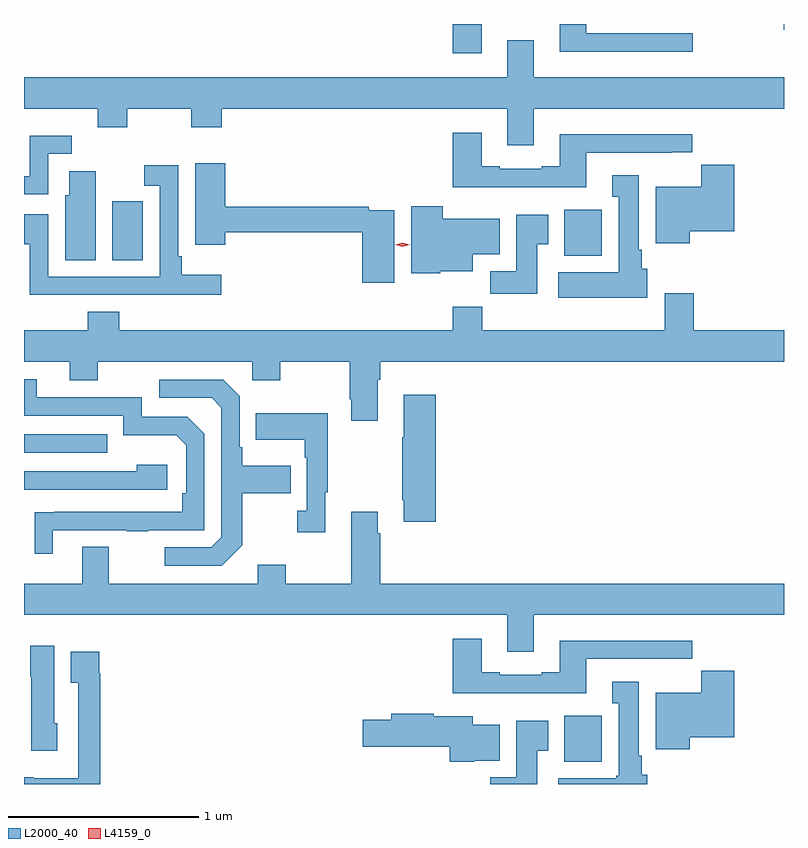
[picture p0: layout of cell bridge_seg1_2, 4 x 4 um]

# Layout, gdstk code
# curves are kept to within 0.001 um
import gdstk
lib = gdstk.Library(unit=1e-6, precision=1e-09)
def R(c, l, rs):  # rectangles x0, y0, x1, y1
    for r in rs: c.add(gdstk.rectangle(r[:2], r[2:], *l))
def P(c, l, *ps):  # polygons
    for p in ps: c.add(gdstk.Polygon(p, *l))
L2000_40 = (2000, 40)
L4159_0 = (4159, 0)

bridge_seg1_2 = lib.new_cell('bridge_seg1_2')
R(bridge_seg1_2, L2000_40, [(866.807,569.606,867.004,569.848), (863.963,571.233,864.401,571.329), (864.428,572.245,864.589,572.556), (866.807,572.27,867.004,572.512), (866.219,573.336,866.371,573.489), (867.962,573.459,867.963,573.489)])
P(bridge_seg1_2, L2000_40, [(867.484,573.441),(866.923,573.441),(866.923,573.489),(866.783,573.489),(866.783,573.344),(867.484,573.344)],
  [(866.647,573.044),(867.963,573.044),(867.963,573.208),(866.647,573.208),(866.647,573.403),(866.507,573.403),(866.507,573.208),(863.963,573.208),(863.963,573.044),(864.352,573.044),(864.352,572.945),(864.507,572.945),(864.507,573.044),(864.844,573.044),(864.844,572.945),(865.004,572.945),(865.004,573.044),(866.507,573.044),(866.507,572.85),(866.647,572.85)],
  [(866.923,572.811),(867.371,572.811),(867.371,572.813),(867.48,572.813),(867.48,572.908),(866.783,572.908),(866.783,572.74),(866.687,572.74),(866.687,572.727),(866.467,572.727),(866.467,572.74),(866.371,572.74),(866.371,572.917),(866.219,572.917),(866.219,572.63),(866.923,572.63)],
  [(864.09,572.805),(864.214,572.805),(864.214,572.902),(863.994,572.902),(863.994,572.688),(863.963,572.688),(863.963,572.592),(864.09,572.592)],
  [(865.912,572.508),(865.778,572.508),(865.778,572.528),(865.022,572.528),(865.022,572.755),(864.863,572.755),(864.863,572.328),(865.022,572.328),(865.022,572.392),(865.742,572.392),(865.742,572.127),(865.912,572.127)],
  [(867.466,572.399),(867.701,572.399),(867.701,572.748),(867.527,572.748),(867.527,572.632),(867.287,572.632),(867.287,572.336),(867.466,572.336)],
  [(864.215,572.064),(864.581,572.064),(864.581,572.063),(865,572.063),(865,572.17),(864.794,572.17),(864.794,572.266),(864.774,572.266),(864.774,572.746),(864.597,572.746),(864.597,572.637),(864.678,572.637),(864.678,572.16),(864.09,572.16),(864.09,572.488),(863.963,572.488),(863.963,572.329),(863.994,572.329),(863.994,572.063),(864.215,572.063)],
  [(864.34,572.713),(864.2,572.713),(864.2,572.589),(864.179,572.589),(864.179,572.245),(864.34,572.245)],
  [(867.244,572.202),(867.214,572.202),(867.214,572.302),(867.199,572.302),(867.199,572.692),(867.059,572.692),(867.059,572.579),(867.092,572.579),(867.092,572.182),(866.775,572.182),(866.775,572.048),(867.244,572.048)],
  [(866.154,572.189),(866.326,572.189),(866.326,572.276),(866.467,572.276),(866.467,572.464),(866.166,572.464),(866.166,572.53),(866,572.53),(866,572.177),(866.154,572.177)],
  [(866.665,572.329),(866.722,572.329),(866.722,572.485),(866.555,572.485),(866.555,572.188),(866.416,572.188),(866.416,572.07),(866.665,572.07)],
  [(864.299,571.876),(863.963,571.876),(863.963,571.712),(864.203,571.712),(864.203,571.613),(864.351,571.613),(864.351,571.712),(865.164,571.712),(865.164,571.613),(865.311,571.613),(865.311,571.712),(865.678,571.712),(865.678,571.513),(865.685,571.513),(865.685,571.401),(865.825,571.401),(865.825,571.616),(865.838,571.616),(865.838,571.712),(867.963,571.712),(867.963,571.876),(867.488,571.876),(867.488,572.071),(867.335,572.071),(867.335,571.876),(866.375,571.876),(866.375,572),(866.219,572),(866.219,571.876),(864.464,571.876),(864.464,571.975),(864.299,571.975)],
  [(864.115,570.825),(864.505,570.825),(864.505,570.82),(864.617,570.82),(864.617,570.825),(864.912,570.825),(864.912,571.332),(864.822,571.422),(864.582,571.422),(864.582,571.524),(864.031,571.524),(864.031,571.62),(863.963,571.62),(863.963,571.428),(864.486,571.428),(864.486,571.325),(864.763,571.325),(864.816,571.272),(864.816,571.018),(864.796,571.018),(864.796,570.921),(864.019,570.92),(864.019,570.702),(864.115,570.702)],
  [(865.111,570.745),(865.111,571.018),(865.367,571.018),(865.367,571.165),(865.111,571.165),(865.111,571.261),(865.098,571.261),(865.098,571.53),(865.011,571.617),(864.675,571.617),(864.675,571.521),(864.951,571.521),(865.002,571.47),(865.002,570.789),(864.948,570.735),(864.705,570.735),(864.705,570.639),(865.005,570.639)],
  [(866.129,571.537),(865.961,571.537),(865.961,571.313),(865.954,571.313),(865.954,570.982),(865.961,570.982),(865.961,570.87),(866.129,570.87)],
  [(865.549,571.025),(865.561,571.025),(865.561,571.441),(865.183,571.441),(865.183,571.301),(865.44,571.301),(865.44,571.205),(865.452,571.205),(865.452,570.926),(865.401,570.926),(865.401,570.813),(865.549,570.813)],
  [(864.718,571.168),(864.557,571.168),(864.557,571.134),(863.963,571.134),(863.963,571.038),(864.718,571.038)],
  [(866.647,570.38),(867.963,570.38),(867.963,570.544),(865.838,570.544),(865.838,570.809),(865.825,570.809),(865.825,570.922),(865.685,570.922),(865.685,570.544),(865.341,570.544),(865.341,570.643),(865.193,570.643),(865.193,570.544),(864.409,570.544),(864.409,570.739),(864.269,570.739),(864.269,570.544),(863.963,570.544),(863.963,570.38),(866.507,570.38),(866.507,570.186),(866.647,570.186)],
  [(866.923,570.147),(867.371,570.147),(867.371,570.149),(867.48,570.149),(867.48,570.244),(866.783,570.244),(866.783,570.076),(866.687,570.076),(866.687,570.063),(866.467,570.063),(866.467,570.076),(866.371,570.076),(866.371,570.253),(866.219,570.253),(866.219,569.966),(866.923,569.966)],
  [(864.139,569.808),(864.121,569.808),(864.121,570.217),(863.996,570.217),(863.996,570.054),(864.002,570.054),(864.002,569.664),(864.139,569.664)],
  [(864.365,570.071),(864.358,570.071),(864.358,570.184),(864.209,570.184),(864.209,570.023),(864.249,570.023),(864.249,569.518),(864.015,569.518),(864.015,569.524),(863.963,569.524),(863.963,569.489),(864.365,569.489)],
  [(867.466,569.735),(867.701,569.735),(867.701,570.084),(867.527,570.084),(867.527,569.968),(867.287,569.968),(867.287,569.672),(867.466,569.672)],
  [(867.244,569.538),(867.214,569.538),(867.214,569.638),(867.199,569.638),(867.199,570.028),(867.059,570.028),(867.059,569.915),(867.092,569.915),(867.092,569.532),(867.079,569.532),(867.079,569.518),(866.775,569.518),(866.775,569.489),(867.244,569.489)],
  [(866.334,569.612),(866.467,569.612),(866.467,569.8),(866.326,569.8),(866.326,569.845),(866.12,569.845),(866.12,569.858),(865.895,569.858),(865.895,569.828),(865.746,569.828),(865.746,569.686),(866.204,569.686),(866.204,569.606),(866.334,569.606)],
  [(866.665,569.665),(866.722,569.665),(866.722,569.821),(866.555,569.821),(866.555,569.524),(866.416,569.524),(866.416,569.489),(866.665,569.489)])
P(bridge_seg1_2, L4159_0, [(865.956,572.317),(865.918,572.327),(865.918,572.327),(865.918,572.327),(865.956,572.337),(865.993,572.327),(865.993,572.327),(865.993,572.327)])

lib.write_gds('bridge_seg1_2.gds')
